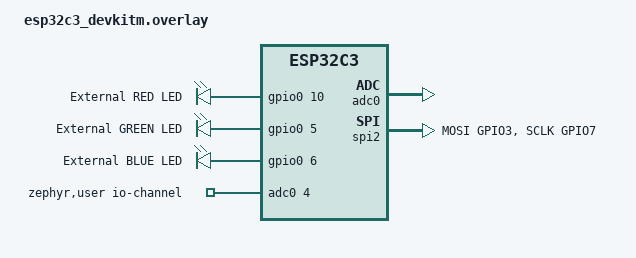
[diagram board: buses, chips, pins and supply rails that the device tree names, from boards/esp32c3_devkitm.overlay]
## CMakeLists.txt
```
# Minimum CMake version
cmake_minimum_required(VERSION 3.22.0)

# Locate the Zephyr RTOS source
find_package(Zephyr REQUIRED HINTS $ENV{ZEPHYR_BASE})

# Name the project
project(blink)

# Locate the source code for the application
target_sources(app PRIVATE
    src/main.c
    src/st7735.c
    src/gfx.c
    src/rgb.c
)
```

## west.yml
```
manifest:
  remotes:
    - name: zephyrproject-rtos
      url-base: https://github.com/zephyrproject-rtos
  projects:
    - name: zephyr
      remote: zephyrproject-rtos
      revision: v4.4.0
      import: true
  self:
    path: app
```

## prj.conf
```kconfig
CONFIG_GPIO=y
CONFIG_SPI=y
CONFIG_ADC=y
CONFIG_PRINTK=y
```

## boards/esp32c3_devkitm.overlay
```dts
#include <zephyr/dt-bindings/gpio/gpio.h>
#include <zephyr/dt-bindings/pinctrl/esp32c3-pinctrl.h>

/ {
    leds {
        compatible = "gpio-leds";

        led_red: led_red {
            gpios = <&gpio0 10 GPIO_ACTIVE_HIGH>;
            label = "External RED LED";
        };

        led_green: led_green {
            gpios = <&gpio0 5 GPIO_ACTIVE_HIGH>;
            label = "External GREEN LED";
        };

        led_blue: led_blue {
            gpios = <&gpio0 6 GPIO_ACTIVE_HIGH>;
            label = "External BLUE LED";
        };
    };

    aliases {
        led-red = &led_red;
        led-green = &led_green;
        led-blue = &led_blue;
    };

    zephyr,user {
        io-channels = <&adc0 4>;
    };
};

&adc0 {
    status = "okay";
};

&spi2 {
    status = "okay";

    pinctrl-0 = <&spi2_custom>;
    pinctrl-names = "default";
};

&pinctrl {
    spi2_custom: spi2_custom {
        group1 {
            pinmux = <
                SPIM2_MOSI_GPIO3
                SPIM2_SCLK_GPIO7
            >;
        };
    };
};
```

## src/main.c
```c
#include <zephyr/kernel.h>
#include <zephyr/sys/printk.h>
#include <zephyr/drivers/adc.h>
#include <stdint.h>
#include <string.h>

#include "st7735.h"
#include "rgb.h"

#define W ST7735_WIDTH
#define H ST7735_HEIGHT
#define CX (W / 2)
#define CY (H / 2)

#define STAR_COUNT 120
#define ADC_CHANNEL 4
#define ADC_RESOLUTION 12
#define ADC_MAX 4095

#define PLASMA_CX 64
#define PLASMA_R  30

static uint16_t fb[W * H];

typedef struct {
    int16_t x;
    int16_t y;
    int16_t z;
    int16_t speed;
} Star;

static Star stars[STAR_COUNT];

static uint8_t sin8[256];
static uint16_t plasma_palette[256];
static uint16_t text_palette[256];

static const struct device *adc_dev = DEVICE_DT_GET(DT_NODELABEL(adc0));
static int pot_filtered = 0;

static uint16_t rgb565(uint8_t r, uint8_t g, uint8_t b)
{
    return ((r & 0xF8) << 8) |
           ((g & 0xFC) << 3) |
           (b >> 3);
}

static uint8_t wave8(uint8_t x)
{
    int v = x;

    if (v > 127) {
        v = 255 - v;
    }

    v = v - 64;

    int y = 255 - ((v * v) >> 4);

    if (y < 0) y = 0;
    if (y > 255) y = 255;

    return (uint8_t)y;
}

static void make_tables(void)
{
    for (int i = 0; i < 256; i++) {
        sin8[i] = wave8((uint8_t)i);

        /* Silver/chrome för plasma */
        uint8_t shine = wave8((uint8_t)i);
        uint8_t base = 55 + (shine / 3);

        uint8_t hi = wave8((uint8_t)(i * 3));
        if (hi > 245) {
            base = 220;
        }

        uint8_t pr = base;
        uint8_t pg = base;
        uint8_t pb = base + 8;
        if (pb < base) {
            pb = 255;
        }

        plasma_palette[i] = rgb565(pr, pg, pb);

        /* Färgad Amiga/copper-palett för scrolltext */
        uint8_t tr = wave8((uint8_t)(i + 0));
        uint8_t tg = wave8((uint8_t)(i + 85));
        uint8_t tb = wave8((uint8_t)(i + 170));

        text_palette[i] = rgb565(tr, tg, tb);
    }
}

static void pot_init(void)
{
    if (!device_is_ready(adc_dev)) {
        printk("ADC not ready\n");
        return;
    }

    struct adc_channel_cfg cfg = {
        .gain = ADC_GAIN_1,
        .reference = ADC_REF_INTERNAL,
        .acquisition_time = ADC_ACQ_TIME_DEFAULT,
        .channel_id = ADC_CHANNEL,
    };

    int ret = adc_channel_setup(adc_dev, &cfg);
    if (ret < 0) {
        printk("ADC setup error: %d\n", ret);
    }
}

static int pot_read_speed(void)
{
    int16_t sample = 0;

    struct adc_sequence seq = {
        .channels = BIT(ADC_CHANNEL),
        .buffer = &sample,
        .buffer_size = sizeof(sample),
        .resolution = ADC_RESOLUTION,
    };

    int ret = adc_read(adc_dev, &seq);
    if (ret < 0) {
        return 2;
    }

    if (sample < 0) sample = 0;
    if (sample > ADC_MAX) sample = ADC_MAX;

    pot_filtered = (pot_filtered * 7 + sample) / 8;

    return 1 + (pot_filtered * 5) / ADC_MAX;   // 1..6
}

static void fb_clear(uint16_t color)
{
    for (int i = 0; i < W * H; i++) {
        fb[i] = color;
    }
}

static void fb_pixel(int x, int y, uint16_t color)
{
    if (x < 0 || x >= W || y < 0 || y >= H) {
        return;
    }

    fb[y * W + x] = color;
}

static void fb_line(int x0, int y0, int x1, int y1, uint16_t color)
{
    int dx = x1 > x0 ? x1 - x0 : x0 - x1;
    int sx = x0 < x1 ? 1 : -1;
    int dy = y1 > y0 ? y0 - y1 : y1 - y0;
    int sy = y0 < y1 ? 1 : -1;
    int err = dx + dy;

    while (1) {
        fb_pixel(x0, y0, color);

        if (x0 == x1 && y0 == y1) {
            break;
        }

        int e2 = 2 * err;

        if (e2 >= dy) {
            err += dy;
            x0 += sx;
        }

        if (e2 <= dx) {
            err += dx;
            y0 += sy;
        }
    }
}

static void plasma_circle(int cy, uint8_t frame)
{
    int r2 = PLASMA_R * PLASMA_R;

    for (int y = -PLASMA_R; y <= PLASMA_R; y++) {
        for (int x = -PLASMA_R; x <= PLASMA_R; x++) {
            int d2 = x * x + y * y;

            if (d2 > r2) {
                continue;
            }

            uint8_t dist = (uint8_t)(d2 >> 4);

            int v =
                sin8[(uint8_t)((x / 2) + frame)] +
                sin8[(uint8_t)((y / 2) + frame)] +
                sin8[(uint8_t)((dist / 2) - frame)];

            v = v / 3;   // viktigt: medelvärde istället för wrap

            fb_pixel(PLASMA_CX + x, cy + y, plasma_palette[(uint8_t)v]);
        }
    }
}

static void stars_init(void)
{
    for (int i = 0; i < STAR_COUNT; i++) {
        stars[i].x = ((i * 73) % 256) - 128;
        stars[i].y = ((i * 41) % 256) - 128;
        stars[i].z = 64 + ((i * 97) % 448);
        stars[i].speed = 3 + (i % 5);
    }
}

static void reset_star(int i)
{
    stars[i].x = ((i * 91 + stars[i].z) % 256) - 128;
    stars[i].y = ((i * 47 + stars[i].x) % 256) - 128;
    stars[i].z = 512;
    stars[i].speed = 3 + (i % 5);
}

static void stars_update_draw(uint8_t frame, int speed_boost)
{
    for (int i = 0; i < STAR_COUNT; i++) {
        int old_z = stars[i].z;

        int old_angle = (frame + i * 3) & 0xFF;
        int old_cosv = (int)sin8[(uint8_t)(old_angle + 64)] - 128;
        int old_sinv = (int)sin8[(uint8_t)(old_angle)] - 128;

        int old_rx = ((stars[i].x * old_cosv) - (stars[i].y * old_sinv)) / 128;
        int old_ry = ((stars[i].x * old_sinv) + (stars[i].y * old_cosv)) / 128;

        int old_sx = CX + (old_rx * 96) / old_z;
        int old_sy = CY + (old_ry * 96) / old_z;

        stars[i].z -= stars[i].speed + speed_boost;

        if (stars[i].z <= 24) {
            reset_star(i);
            continue;
        }

        int angle = (frame + i * 3) & 0xFF;
        int cosv = (int)sin8[(uint8_t)(angle + 64)] - 128;
        int sinv = (int)sin8[(uint8_t)(angle)] - 128;

        int rx = ((stars[i].x * cosv) - (stars[i].y * sinv)) / 128;
        int ry = ((stars[i].x * sinv) + (stars[i].y * cosv)) / 128;

        int sx = CX + (rx * 96) / stars[i].z;
        int sy = CY + (ry * 96) / stars[i].z;

        if (sx < 0 || sx >= W || sy < 0 || sy >= H) {
            reset_star(i);
            continue;
        }

        int b = 255 - (stars[i].z >> 1);
        if (b < 40) b = 40;
        if (b > 255) b = 255;

        uint16_t c = rgb565((uint8_t)b, (uint8_t)b, (uint8_t)b);

        fb_line(old_sx, old_sy, sx, sy, c);

        if (stars[i].z < 80) {
            fb_pixel(sx + 1, sy, ST7735_WHITE);
            fb_pixel(sx, sy + 1, ST7735_WHITE);
        }
    }
}

static const uint8_t font5x7[][5] = {
    [' '] = {0x00,0x00,0x00,0x00,0x00},
    ['!'] = {0x00,0x00,0x5F,0x00,0x00},
    ['.'] = {0x00,0x60,0x60,0x00,0x00},
    ['A'] = {0x7E,0x11,0x11,0x11,0x7E},
    ['B'] = {0x7F,0x49,0x49,0x49,0x36},
    ['C'] = {0x3E,0x41,0x41,0x41,0x22},
    ['D'] = {0x7F,0x41,0x41,0x22,0x1C},
    ['E'] = {0x7F,0x49,0x49,0x49,0x41},
    ['F'] = {0x7F,0x09,0x09,0x09,0x01},
    ['G'] = {0x3E,0x41,0x49,0x49,0x7A},
    ['H'] = {0x7F,0x08,0x08,0x08,0x7F},
    ['I'] = {0x00,0x41,0x7F,0x41,0x00},
    ['J'] = {0x20,0x40,0x41,0x3F,0x01},
    ['K'] = {0x7F,0x08,0x14,0x22,0x41},
    ['L'] = {0x7F,0x40,0x40,0x40,0x40},
    ['M'] = {0x7F,0x02,0x0C,0x02,0x7F},
    ['N'] = {0x7F,0x04,0x08,0x10,0x7F},
    ['O'] = {0x3E,0x41,0x41,0x41,0x3E},
    ['P'] = {0x7F,0x09,0x09,0x09,0x06},
    ['Q'] = {0x3E,0x41,0x51,0x21,0x5E},
    ['R'] = {0x7F,0x09,0x19,0x29,0x46},
    ['S'] = {0x46,0x49,0x49,0x49,0x31},
    ['T'] = {0x01,0x01,0x7F,0x01,0x01},
    ['U'] = {0x3F,0x40,0x40,0x40,0x3F},
    ['V'] = {0x1F,0x20,0x40,0x20,0x1F},
    ['W'] = {0x7F,0x20,0x18,0x20,0x7F},
    ['X'] = {0x63,0x14,0x08,0x14,0x63},
    ['Y'] = {0x07,0x08,0x70,0x08,0x07},
    ['Z'] = {0x61,0x51,0x49,0x45,0x43},
};

static void fb_char(int x, int y, char c, uint16_t color)
{
    if (c < 0 || c > 127) {
        return;
    }

    for (int col = 0; col < 5; col++) {
        uint8_t bits = font5x7[(int)c][col];

        for (int row = 0; row < 7; row++) {
            if (bits & (1 << row)) {
                fb_pixel(x + col, y + row, color);
            }
        }
    }
}

static void scroll_text_wave(int x, int base_y, const char *text, uint8_t frame)
{
    int char_index = 0;

    while (*text) {
        int wave = ((int)sin8[(uint8_t)((frame >> 1) + char_index * 6)] - 128) / 12;
        uint16_t c = text_palette[(uint8_t)((frame >> 1) + char_index * 8)];

        fb_char(x + 1, base_y + wave + 1, *text, ST7735_BLACK);
        fb_char(x,     base_y + wave,     *text, c);

        x += 6;
        text++;
        char_index++;
    }
}

static void rgb_demo(uint8_t frame, int speed)
{
    uint8_t phase = frame + (speed * 20);

    int r = sin8[(uint8_t)(phase + 0)] > 150;
    int g = sin8[(uint8_t)(phase + 85)] > 150;
    int b = sin8[(uint8_t)(phase + 170)] > 150;

    rgb_set(r, g, b);
}

int main(void)
{
    printk("Stable demo with pot speed\n");

    st7735_init();
    rgb_init();
    rgb_off();

    pot_init();
    make_tables();
    stars_init();

    uint8_t frame = 0;

    const char *scroll = "   MR MATZO STRIKES AGAIN  - ZEPHYR ST7735 AMIGA STYLE DEMO 2026  ";
    int scroll_x = W;

    int plasma_y = 45 << 8;
    int plasma_vy = 90;

    while (1) {
        int speed = pot_read_speed();
        rgb_demo(frame, speed);

        fb_clear(ST7735_BLACK);

        stars_update_draw(frame, speed / 2);

        plasma_y += plasma_vy;

        int top_limit = (PLASMA_R + 5) << 8;
        int bottom_limit = (124 - PLASMA_R) << 8;

        if (plasma_y <= top_limit) {
            plasma_y = top_limit;
            plasma_vy = -plasma_vy;
        }

        if (plasma_y >= bottom_limit) {
            plasma_y = bottom_limit;
            plasma_vy = -plasma_vy;
        }

        plasma_circle(plasma_y >> 8, frame);

        scroll_text_wave(scroll_x, 132, scroll, frame);

        scroll_x -= speed;

        if (scroll_x < -(int)(strlen(scroll) * 6)) {
            scroll_x = W;
        }

            st7735_draw_framebuffer(fb);

        frame += speed;
    }
}
```

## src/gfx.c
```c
#include "gfx.h"
#include "st7735.h"

void gfx_draw_pixel(uint8_t x, uint8_t y, uint16_t color)
{
    st7735_draw_pixel(x, y, color);
}

void gfx_draw_hline(uint8_t x, uint8_t y, uint8_t w, uint16_t color)
{
    for (uint8_t i = 0; i < w; i++) {
        gfx_draw_pixel(x + i, y, color);
    }
}

void gfx_draw_vline(uint8_t x, uint8_t y, uint8_t h, uint16_t color)
{
    for (uint8_t i = 0; i < h; i++) {
        gfx_draw_pixel(x, y + i, color);
    }
}

void gfx_draw_rect(uint8_t x, uint8_t y, uint8_t w, uint8_t h, uint16_t color)
{
    gfx_draw_hline(x, y, w, color);
    gfx_draw_hline(x, y + h - 1, w, color);
    gfx_draw_vline(x, y, h, color);
    gfx_draw_vline(x + w - 1, y, h, color);
}

void gfx_fill_rect(uint8_t x, uint8_t y, uint8_t w, uint8_t h, uint16_t color)
{
    for (uint8_t yy = 0; yy < h; yy++) {
        gfx_draw_hline(x, y + yy, w, color);
    }
}
```

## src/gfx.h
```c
#ifndef GFX_H
#define GFX_H

#include <stdint.h>

void gfx_draw_pixel(uint8_t x, uint8_t y, uint16_t color);
void gfx_draw_hline(uint8_t x, uint8_t y, uint8_t w, uint16_t color);
void gfx_draw_vline(uint8_t x, uint8_t y, uint8_t h, uint16_t color);
void gfx_draw_rect(uint8_t x, uint8_t y, uint8_t w, uint8_t h, uint16_t color);
void gfx_fill_rect(uint8_t x, uint8_t y, uint8_t w, uint8_t h, uint16_t color);

#endif
```

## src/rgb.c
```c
#include "rgb.h"

#include <zephyr/drivers/gpio.h>
#include <zephyr/sys/printk.h>

static const struct gpio_dt_spec led_red =
    GPIO_DT_SPEC_GET(DT_ALIAS(led_red), gpios);

static const struct gpio_dt_spec led_green =
    GPIO_DT_SPEC_GET(DT_ALIAS(led_green), gpios);

static const struct gpio_dt_spec led_blue =
    GPIO_DT_SPEC_GET(DT_ALIAS(led_blue), gpios);

void rgb_init(void)
{
    if (!gpio_is_ready_dt(&led_red) ||
        !gpio_is_ready_dt(&led_green) ||
        !gpio_is_ready_dt(&led_blue)) {
        printk("RGB GPIO not ready\n");
        return;
    }

    gpio_pin_configure_dt(&led_red, GPIO_OUTPUT_INACTIVE);
    gpio_pin_configure_dt(&led_green, GPIO_OUTPUT_INACTIVE);
    gpio_pin_configure_dt(&led_blue, GPIO_OUTPUT_INACTIVE);
}

void rgb_set(int r, int g, int b)
{
    gpio_pin_set_dt(&led_red, r);
    gpio_pin_set_dt(&led_green, g);
    gpio_pin_set_dt(&led_blue, b);
}

void rgb_off(void)
{
    rgb_set(0, 0, 0);
}
```

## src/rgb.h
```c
#ifndef RGB_H
#define RGB_H

void rgb_init(void);
void rgb_set(int r, int g, int b);
void rgb_off(void);

#endif
```

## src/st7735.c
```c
#include "st7735.h"

#include <zephyr/kernel.h>
#include <zephyr/device.h>
#include <zephyr/drivers/gpio.h>
#include <zephyr/drivers/spi.h>
#include <zephyr/sys/printk.h>
#include <stddef.h>

#define PIN_DC   2
#define PIN_RST  0
#define PIN_CS   1

static const struct device *gpio = DEVICE_DT_GET(DT_NODELABEL(gpio0));
static const struct device *spi = DEVICE_DT_GET(DT_NODELABEL(spi2));

static struct spi_config spi_cfg = {
    .frequency = 20000000,
    .operation = SPI_OP_MODE_MASTER | SPI_WORD_SET(8) | SPI_TRANSFER_MSB,
    .slave = 0,
};

static int st7735_write(const uint8_t *data, size_t len)
{
    struct spi_buf buf = {
        .buf = (void *)data,
        .len = len,
    };

    struct spi_buf_set tx = {
        .buffers = &buf,
        .count = 1,
    };

    return spi_write(spi, &spi_cfg, &tx);
}

static void st7735_cmd(uint8_t cmd)
{
    gpio_pin_set(gpio, PIN_DC, 0);
    gpio_pin_set(gpio, PIN_CS, 0);
    st7735_write(&cmd, 1);
    gpio_pin_set(gpio, PIN_CS, 1);
}

static void st7735_data(const uint8_t *data, size_t len)
{
    gpio_pin_set(gpio, PIN_DC, 1);
    gpio_pin_set(gpio, PIN_CS, 0);
    st7735_write(data, len);
    gpio_pin_set(gpio, PIN_CS, 1);
}

static void st7735_data8(uint8_t data)
{
    st7735_data(&data, 1);
}

static void st7735_reset(void)
{
    gpio_pin_set(gpio, PIN_RST, 1);
    k_msleep(50);

    gpio_pin_set(gpio, PIN_RST, 0);
    k_msleep(100);

    gpio_pin_set(gpio, PIN_RST, 1);
    k_msleep(150);
}

static void st7735_set_window(uint8_t x0, uint8_t y0, uint8_t x1, uint8_t y1)
{
    uint8_t data[4];

    st7735_cmd(0x2A);
    data[0] = 0x00;
    data[1] = x0;
    data[2] = 0x00;
    data[3] = x1;
    st7735_data(data, 4);

    st7735_cmd(0x2B);
    data[0] = 0x00;
    data[1] = y0;
    data[2] = 0x00;
    data[3] = y1;
    st7735_data(data, 4);

    st7735_cmd(0x2C);
}

void st7735_init(void)
{
    if (!device_is_ready(gpio)) {
        printk("ST7735 GPIO not ready\n");
        return;
    }

    if (!device_is_ready(spi)) {
        printk("ST7735 SPI not ready\n");
        return;
    }

    gpio_pin_configure(gpio, PIN_DC, GPIO_OUTPUT_INACTIVE);
    gpio_pin_configure(gpio, PIN_RST, GPIO_OUTPUT_ACTIVE);
    gpio_pin_configure(gpio, PIN_CS, GPIO_OUTPUT_ACTIVE);

    st7735_reset();

    st7735_cmd(0x01);      // software reset
    k_msleep(150);

    st7735_cmd(0x11);      // sleep out
    k_msleep(150);

    st7735_cmd(0x3A);      // color mode
    st7735_data8(0x05);    // RGB565

    st7735_cmd(0x36);      // MADCTL
    st7735_data8(0x00);

    st7735_cmd(0x20);      // inversion OFF
    k_msleep(10);

    st7735_cmd(0x13);      // normal display mode ON
    k_msleep(10);

    st7735_cmd(0x29);      // display ON
    k_msleep(150);
}

void st7735_fill(uint16_t color)
{
    uint8_t pixel[2] = {
        (uint8_t)(color >> 8),
        (uint8_t)(color & 0xFF)
    };

    st7735_set_window(0, 0, ST7735_WIDTH - 1, ST7735_HEIGHT - 1);

    gpio_pin_set(gpio, PIN_DC, 1);
    gpio_pin_set(gpio, PIN_CS, 0);

    for (int i = 0; i < ST7735_WIDTH * ST7735_HEIGHT; i++) {
        st7735_write(pixel, 2);
    }

    gpio_pin_set(gpio, PIN_CS, 1);
}

void st7735_draw_pixel(uint8_t x, uint8_t y, uint16_t color)
{
    if (x >= ST7735_WIDTH || y >= ST7735_HEIGHT) {
        return;
    }

    uint8_t pixel[2] = {
        (uint8_t)(color >> 8),
        (uint8_t)(color & 0xFF)
    };

    st7735_set_window(x, y, x, y);
    st7735_data(pixel, 2);
}

void st7735_draw_framebuffer(const uint16_t *buffer)
{
    static uint8_t txbuf[ST7735_WIDTH * ST7735_HEIGHT * 2];

    for (int i = 0; i < ST7735_WIDTH * ST7735_HEIGHT; i++) {
        txbuf[i * 2 + 0] = (uint8_t)(buffer[i] >> 8);
        txbuf[i * 2 + 1] = (uint8_t)(buffer[i] & 0xFF);
    }

    st7735_set_window(0, 0, ST7735_WIDTH - 1, ST7735_HEIGHT - 1);

    gpio_pin_set(gpio, PIN_DC, 1);
    gpio_pin_set(gpio, PIN_CS, 0);

    st7735_write(txbuf, sizeof(txbuf));

    gpio_pin_set(gpio, PIN_CS, 1);
}
```

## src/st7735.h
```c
#ifndef ST7735_H
#define ST7735_H

#include <stdint.h>

#define ST7735_WIDTH   128
#define ST7735_HEIGHT  160

#define ST7735_BLACK   0x0000
#define ST7735_WHITE   0xFFFF
#define ST7735_RED     0xF800
#define ST7735_GREEN   0x07E0
#define ST7735_BLUE    0x001F

void st7735_init(void);
void st7735_fill(uint16_t color);
void st7735_draw_pixel(uint8_t x, uint8_t y, uint16_t color);
void st7735_draw_framebuffer(const uint16_t *buffer);

#endif
```
